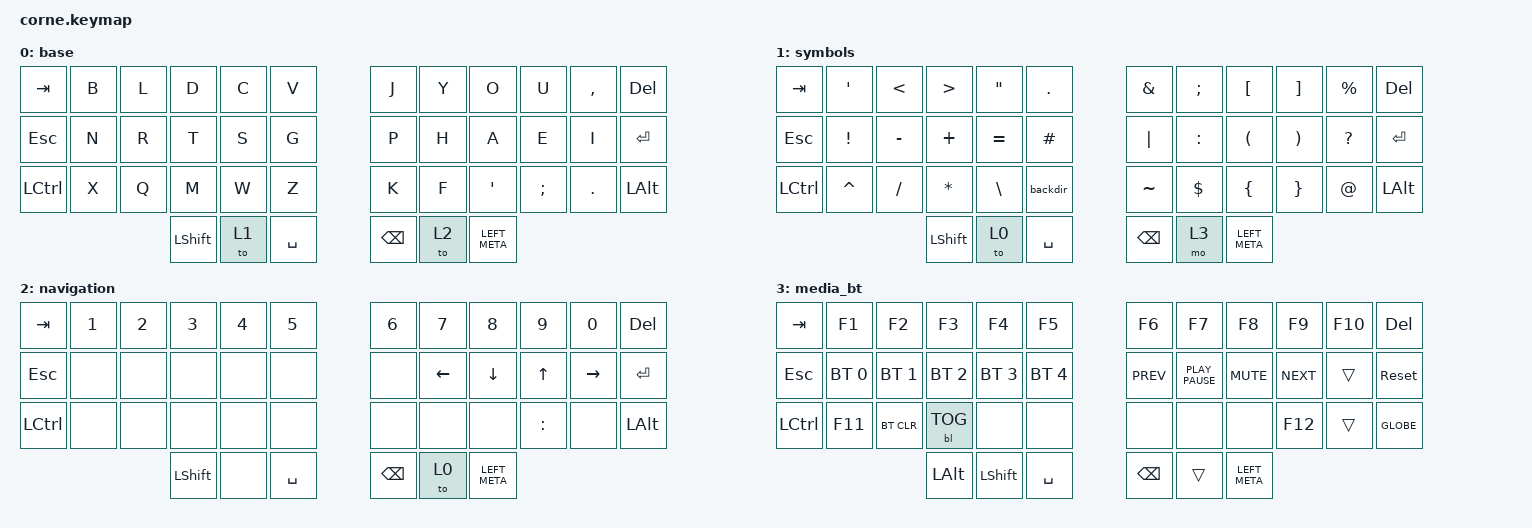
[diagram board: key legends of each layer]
/*
 * Copyright (c) 2020 The ZMK Contributors
 *
 * SPDX-License-Identifier: MIT
 */

#include <behaviors.dtsi>
#include <dt-bindings/zmk/backlight.h>
#include <dt-bindings/zmk/bt.h>
#include <dt-bindings/zmk/keys.h>

&led_strip {
    chain-length = <27>;

    // 21 backlight + 6 glowlight
};

/ {
    macros {
        backdir: backdir {
            compatible = "zmk,behavior-macro";
            #binding-cells = <0>;
            bindings = <&kp PERIOD &kp PERIOD &kp SLASH>;
            label = "BACKDIR";
        };
    };

    keymap {
        compatible = "zmk,keymap";

        base {
            bindings = <
&kp TAB     &kp B  &kp L  &kp D           &kp C  &kp V        &kp J          &kp Y  &kp O             &kp U     &kp COMMA   &kp DELETE
&kp ESCAPE  &kp N  &kp R  &kp T           &kp S  &kp G        &kp P          &kp H  &kp A             &kp E     &kp I       &kp ENTER
&kp LCTRL   &kp X  &kp Q  &kp M           &kp W  &kp Z        &kp K          &kp F  &kp SINGLE_QUOTE  &kp SEMI  &kp PERIOD  &kp LEFT_ALT
                          &kp LEFT_SHIFT  &to 1  &kp SPACE    &kp BACKSPACE  &to 2  &kp LEFT_META
            >;
        };

        symbols {
            bindings = <
&kp TAB     &kp APOS   &kp LT     &kp GT          &kp DOUBLE_QUOTES  &kp PERIOD    &kp AMPS       &kp SEMICOLON  &kp LEFT_BRACKET      &kp RIGHT_BRACKET      &kp PERCENT   &kp DEL
&kp ESCAPE  &kp EXCL   &kp MINUS  &kp PLUS        &kp EQUAL          &kp HASH      &kp PIPE       &kp COLON      &kp LEFT_PARENTHESIS  &kp RIGHT_PARENTHESIS  &kp QUESTION  &kp ENTER
&kp LCTRL   &kp CARET  &kp SLASH  &kp ASTERISK    &kp BACKSLASH      &backdir      &kp TILDE      &kp DOLLAR     &kp LEFT_BRACE        &kp RIGHT_BRACE        &kp AT_SIGN   &kp LEFT_ALT
                                  &kp LEFT_SHIFT  &to 0              &kp SPACE     &kp BACKSPACE  &mo 3          &kp LEFT_META
            >;
        };

        navigation {
            bindings = <
&kp TAB     &kp N1  &kp N2  &kp N3          &kp N4  &kp N5       &kp N6         &kp N7    &kp N8         &kp N9        &kp N0     &kp DELETE
&kp ESCAPE  &none   &none   &none           &none   &none        &none          &kp LEFT  &kp DOWN       &kp UP_ARROW  &kp RIGHT  &kp ENTER
&kp LCTRL   &none   &none   &none           &none   &none        &none          &none     &none          &kp COLON     &none      &kp LEFT_ALT
                            &kp LEFT_SHIFT  &none   &kp SPACE    &kp BACKSPACE  &to 0     &kp LEFT_META
            >;
        };

        media_bt {
            bindings = <
&kp TAB     &kp F1        &kp F2        &kp F3        &kp F4          &kp F5          &kp F6         &kp F7            &kp F8         &kp F9      &kp F10  &kp DEL
&kp ESCAPE  &bt BT_SEL 0  &bt BT_SEL 1  &bt BT_SEL 2  &bt BT_SEL 3    &bt BT_SEL 4    &kp K_PREV     &kp K_PLAY_PAUSE  &kp K_MUTE     &kp K_NEXT  &trans   &sys_reset
&kp LCTRL   &kp F11       &bt BT_CLR    &bl BL_TOG    &none           &none           &none          &none             &none          &kp F12     &trans   &kp GLOBE
                                        &kp LALT      &kp LEFT_SHIFT  &kp SPACE       &kp BACKSPACE  &trans            &kp LEFT_META
            >;
        };
    };
};
